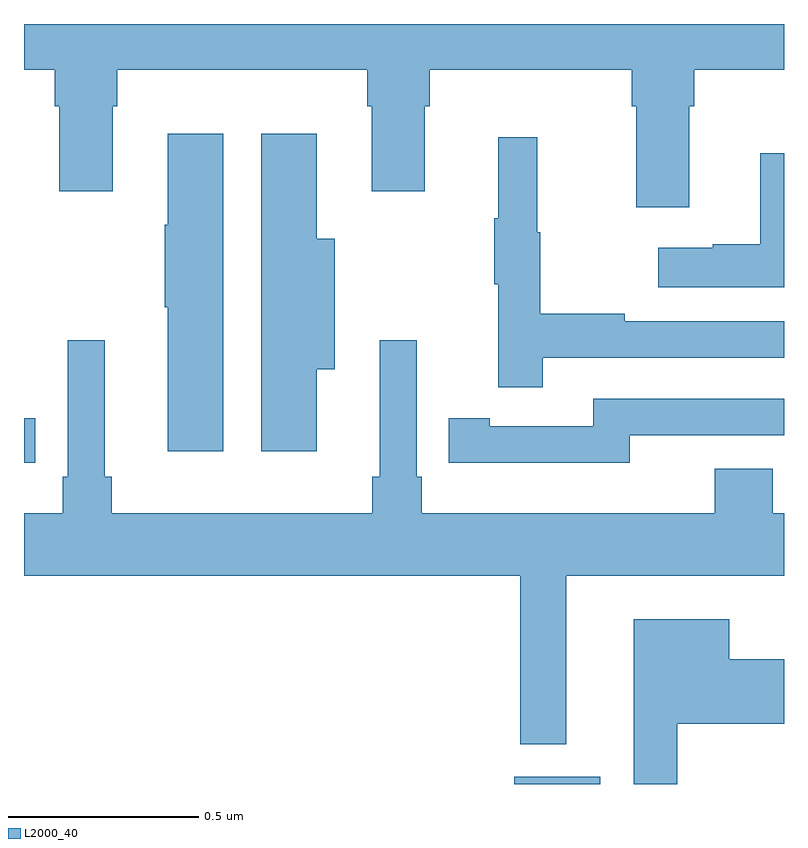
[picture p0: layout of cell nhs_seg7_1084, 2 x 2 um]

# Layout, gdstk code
import gdstk
lib = gdstk.Library(unit=1e-6, precision=1e-09)
def R(c, l, rs):  # rectangles x0, y0, x1, y1
    for r in rs: c.add(gdstk.rectangle(r[:2], r[2:], *l))
def P(c, l, *ps):  # polygons
    for p in ps: c.add(gdstk.Polygon(p, *l))
L2000_40 = (2000, 40)

nhs_seg7_1084 = lib.new_cell('nhs_seg7_1084')
R(nhs_seg7_1084, L2000_40, [(126.29,1068,126.517,1068.019), (125,1068.846,125.03,1068.962)])
P(nhs_seg7_1084, L2000_40, [(126.751,1069.784),(126.764,1069.784),(126.764,1069.88),(127,1069.88),(127,1070),(125,1070),(125,1069.88),(125.081,1069.88),(125.081,1069.784),(125.093,1069.784),(125.093,1069.56),(125.233,1069.56),(125.233,1069.784),(125.246,1069.784),(125.246,1069.88),(125.903,1069.88),(125.903,1069.784),(125.915,1069.784),(125.915,1069.56),(126.055,1069.56),(126.055,1069.784),(126.068,1069.784),(126.068,1069.88),(126.599,1069.88),(126.599,1069.784),(126.611,1069.784),(126.611,1069.518),(126.751,1069.518)],
  [(125.524,1069.711),(125.378,1069.711),(125.378,1069.472),(125.371,1069.472),(125.371,1069.255),(125.378,1069.255),(125.378,1068.876),(125.524,1068.876)],
  [(125.77,1069.091),(125.818,1069.091),(125.818,1069.435),(125.77,1069.435),(125.77,1069.711),(125.624,1069.711),(125.624,1068.876),(125.77,1068.876)],
  [(126.365,1069.122),(127,1069.122),(127,1069.218),(126.581,1069.218),(126.581,1069.238),(126.358,1069.238),(126.358,1069.452),(126.35,1069.452),(126.35,1069.702),(126.248,1069.702),(126.248,1069.489),(126.237,1069.489),(126.237,1069.315),(126.248,1069.315),(126.248,1069.044),(126.365,1069.044)],
  [(127,1069.66),(126.938,1069.66),(126.938,1069.421),(126.812,1069.421),(126.812,1069.411),(126.669,1069.411),(126.669,1069.307),(127,1069.307)],
  [(126.047,1068.808),(126.033,1068.808),(126.033,1069.168),(125.936,1069.168),(125.936,1068.808),(125.917,1068.808),(125.917,1068.712),(125.231,1068.712),(125.231,1068.808),(125.212,1068.808),(125.212,1069.168),(125.115,1069.168),(125.115,1068.808),(125.102,1068.808),(125.102,1068.712),(125,1068.712),(125,1068.548),(126.306,1068.548),(126.306,1068.104),(126.427,1068.104),(126.427,1068.548),(127,1068.548),(127,1068.712),(126.971,1068.712),(126.971,1068.829),(126.818,1068.829),(126.818,1068.712),(126.047,1068.712)],
  [(126.594,1068.918),(127,1068.918),(127,1069.014),(126.498,1069.014),(126.498,1068.942),(126.226,1068.942),(126.226,1068.962),(126.118,1068.962),(126.118,1068.846),(126.226,1068.846),(126.226,1068.845),(126.594,1068.845)],
  [(126.719,1068.158),(127,1068.158),(127,1068.328),(126.856,1068.328),(126.856,1068.433),(126.605,1068.433),(126.605,1068),(126.719,1068)])

lib.write_gds('nhs_seg7_1084.gds')
